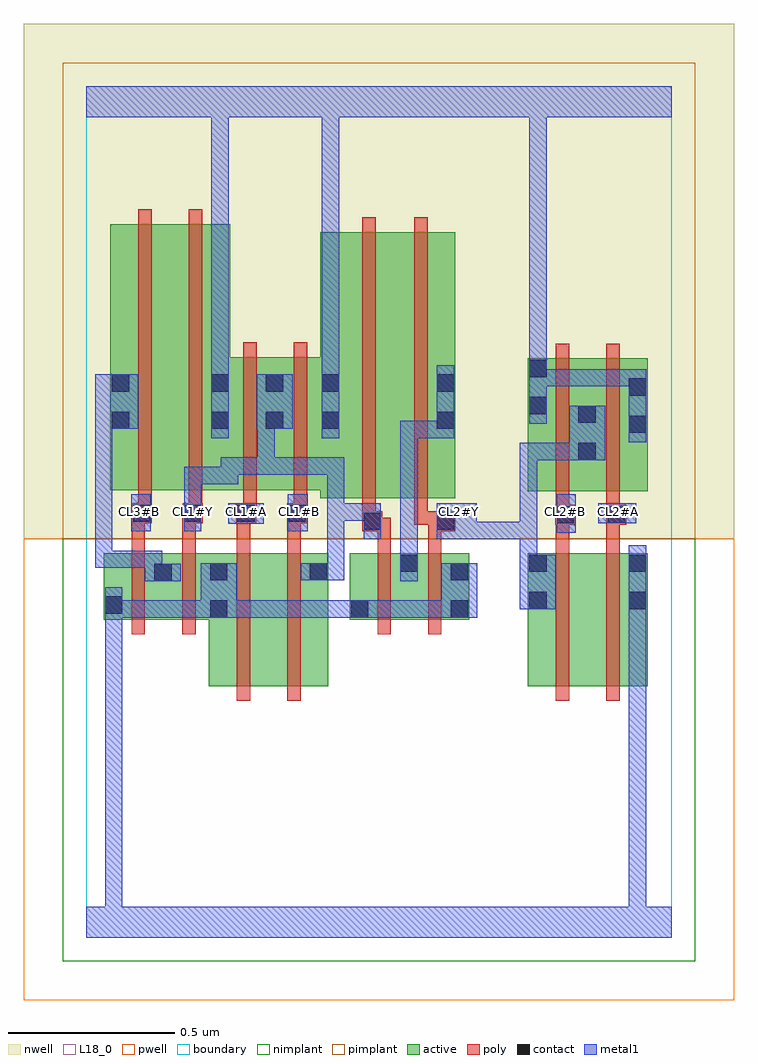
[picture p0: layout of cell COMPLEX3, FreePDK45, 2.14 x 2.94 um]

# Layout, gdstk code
import gdstk
lib = gdstk.Library(unit=1e-6, precision=1e-09)
def R(c, l, rs):  # rectangles x0, y0, x1, y1
    for r in rs: c.add(gdstk.rectangle(r[:2], r[2:], *l))
def A(c, l, x, y, w, h, nx, ny, dx, dy):  # array of equal rectangles
    R(c, l, [(x+i*dx, y+j*dy, x+i*dx+w, y+j*dy+h) for i in range(nx) for j in range(ny)])
active = (1, 0)
pwell = (2, 0)
nwell = (3, 0)
nimplant = (4, 0)
pimplant = (5, 0)
poly = (9, 0)
contact = (10, 0)
metal1 = (11, 0)
L18_0 = (18, 0)
boundary = (235, 0)

complex3 = lib.new_cell('COMPLEX3')
R(complex3, active, [(0.368,0.756,0.428,1.156), (0.368,0.756,0.548,1.156), (0.548,0.756,0.728,1.156), (0.668,0.756,0.728,1.156), (1.328,0.756,1.388,1.156), (1.328,0.756,1.508,1.156), (1.508,0.756,1.688,1.156), (1.628,0.756,1.688,1.156), (0.052,0.956,0.112,1.156), (0.052,0.956,0.26,1.156), (0.2,0.956,0.26,1.156), (0.2,0.956,0.428,1.156), (0.792,0.956,0.852,1.156), (0.792,0.956,1,1.156), (0.94,0.956,1,1.156), (0.94,0.956,1.152,1.156), (1.092,0.956,1.152,1.156), (0.704,1.322,0.93,2.122), (0.93,1.322,1.11,2.122), (1.05,1.322,1.11,2.122), (1.328,1.342,1.388,1.742), (1.328,1.342,1.536,1.742), (1.476,1.342,1.688,1.742), (1.628,1.342,1.688,1.742), (0.072,1.346,0.252,2.146), (0.072,1.346,0.132,2.044), (0.252,1.346,0.432,2.146), (0.372,1.346,0.596,1.746), (0.536,1.346,0.764,1.746), (1.476,1.386,1.536,1.698), (0.536,1.388,0.596,1.746), (0.372,1.47,0.432,2.146), (0.704,1.498,0.764,1.85)])
R(complex3, pwell, [(-0.188,-0.188,1.948,1.2)])
R(complex3, nwell, [(-0.188,1.2,1.948,2.748)])
R(complex3, nimplant, [(-0.072,-0.072,1.832,1.2)])
R(complex3, pimplant, [(-0.072,1.2,1.832,2.632)])
R(complex3, poly, [(0.452,0.712,0.492,1.2), (0.604,0.712,0.644,1.2), (1.412,0.712,1.452,1.2), (1.564,0.712,1.604,1.2), (0.136,0.912,0.176,1.2), (0.288,0.912,0.328,1.2), (0.876,0.912,0.916,1.2), (1.028,0.912,1.068,1.2), (0.136,1.16,0.176,1.286), (0.288,1.16,0.328,1.286), (0.452,1.16,0.492,1.286), (0.604,1.16,0.644,1.286), (0.876,1.16,0.916,1.262), (1.028,1.16,1.068,1.262), (1.412,1.16,1.452,1.282), (1.564,1.16,1.604,1.282), (0.83,1.222,0.89,1.282), (0.85,1.222,0.89,1.262), (0.85,1.222,0.916,1.262), (1.028,1.222,1.11,1.282), (0.83,1.242,0.87,1.318), (0.986,1.242,1.026,1.318), (0.986,1.242,1.068,1.282), (1.028,1.242,1.068,1.282), (1.41,1.242,1.47,1.302), (1.564,1.242,1.624,1.302), (0.136,1.246,0.176,1.286), (0.136,1.246,0.176,1.286), (0.136,1.246,0.196,1.306), (0.288,1.246,0.33,1.286), (0.29,1.246,0.33,1.286), (0.29,1.246,0.35,1.306), (0.45,1.246,0.51,1.306), (0.604,1.246,0.664,1.306), (1.412,1.262,1.452,1.338), (1.412,1.262,1.452,1.302), (1.412,1.262,1.452,1.302), (1.564,1.262,1.604,1.338), (1.564,1.262,1.604,1.302), (1.564,1.262,1.604,1.302), (0.156,1.266,0.196,1.342), (0.308,1.266,0.348,1.342), (0.47,1.266,0.51,1.306), (0.47,1.266,0.512,1.306), (0.472,1.266,0.512,1.342), (0.624,1.266,0.664,1.342), (0.624,1.266,0.664,1.306), (0.624,1.266,0.664,1.306), (0.83,1.278,0.87,2.166), (0.986,1.278,1.026,2.166), (1.412,1.298,1.452,1.786), (1.564,1.298,1.604,1.786), (0.156,1.302,0.196,2.19), (0.308,1.302,0.348,2.19), (0.472,1.302,0.512,1.79), (0.624,1.302,0.664,1.79)])
R(complex3, contact, [(0.372,0.962,0.424,1.014), (0.796,0.962,0.848,1.014), (1.096,0.962,1.148,1.014), (0.056,0.974,0.108,1.026), (1.332,0.988,1.384,1.04), (1.632,0.988,1.684,1.04), (0.204,1.072,0.256,1.124), (0.372,1.074,0.424,1.126), (0.672,1.074,0.724,1.126), (1.096,1.074,1.148,1.126), (0.944,1.1,0.996,1.152), (1.332,1.1,1.384,1.152), (1.632,1.1,1.684,1.152), (0.834,1.226,0.886,1.278), (1.054,1.226,1.106,1.278), (1.414,1.246,1.466,1.298), (1.568,1.246,1.62,1.298), (0.14,1.25,0.192,1.302), (0.294,1.25,0.346,1.302), (0.454,1.25,0.506,1.302), (0.608,1.25,0.66,1.302), (1.48,1.436,1.532,1.488), (1.632,1.518,1.684,1.57), (0.076,1.53,0.128,1.582), (0.376,1.53,0.428,1.582), (0.54,1.53,0.592,1.582), (0.708,1.53,0.76,1.582), (1.054,1.53,1.106,1.582), (1.48,1.548,1.532,1.6), (1.332,1.574,1.384,1.626), (1.632,1.63,1.684,1.682), (0.076,1.642,0.128,1.694), (0.376,1.642,0.428,1.694), (0.54,1.642,0.592,1.694), (0.708,1.642,0.76,1.694), (1.054,1.642,1.106,1.694), (1.332,1.686,1.384,1.738)])
R(complex3, metal1, [(0,0,1.76,0.092), (0.056,0.04,0.108,0.092), (0.056,0.04,0.108,0.092), (0.056,0.04,0.108,0.092), (0.056,0.04,0.108,0.092), (0.056,0.04,0.108,0.092), (0.056,0.04,0.108,0.092), (0.056,0.04,0.108,0.092), (0.056,0.04,0.108,0.092), (0.056,0.04,0.108,0.092), (0.056,0.04,0.108,0.092), (0.056,0.04,0.108,0.092), (0.056,0.04,0.108,0.092), (0.056,0.04,0.108,0.092), (0.056,0.04,0.108,0.092), (0.056,0.04,0.108,0.092), (0.056,0.04,0.108,0.092), (0.056,0.04,0.108,0.998), (1.632,0.04,1.684,0.092), (1.632,0.04,1.684,0.092), (1.632,0.04,1.684,1.012), (0.056,0.946,0.108,1.054), (1.632,0.96,1.684,1.012), (1.632,0.96,1.684,1.012), (1.632,0.96,1.684,1.012), (1.632,0.96,1.684,1.012), (1.632,0.96,1.684,1.012), (1.632,0.96,1.684,1.012), (1.632,0.96,1.684,1.012), (1.632,0.96,1.684,1.012), (1.632,0.96,1.684,1.012), (1.632,0.96,1.684,1.012), (1.632,0.96,1.684,1.18), (0.056,0.962,0.108,1.014), (0.056,0.962,0.108,1.014), (0.056,0.962,0.236,1.014), (0.184,0.962,0.236,1.014), (0.184,0.962,0.236,1.014), (0.184,0.962,0.236,1.014), (0.184,0.962,0.396,1.014), (0.344,0.962,0.452,1.126), (0.4,0.962,0.456,1.014), (0.404,0.962,0.456,1.014), (0.404,0.962,0.566,1.014), (0.514,0.962,0.566,1.014), (0.514,0.962,0.566,1.014), (0.514,0.962,0.566,1.014), (0.514,0.962,0.676,1.014), (0.624,0.962,0.676,1.014), (0.624,0.962,0.82,1.014), (0.768,0.962,0.882,1.014), (0.83,0.962,0.886,1.014), (0.834,0.962,0.886,1.014), (0.834,0.962,0.996,1.014), (0.944,0.962,0.996,1.014), (0.944,0.962,0.996,1.014), (0.944,0.962,0.996,1.014), (0.944,0.962,1.12,1.014), (1.068,0.962,1.176,1.126), (1.304,0.988,1.412,1.152), (0.176,1.072,0.228,1.164), (0.176,1.072,0.284,1.124), (0.944,1.072,0.996,1.18), (0.644,1.074,0.776,1.126), (0.724,1.074,0.776,1.126), (0.724,1.074,0.776,1.126), (0.724,1.074,0.776,1.306), (1.304,1.1,1.356,1.25), (0.026,1.112,0.078,1.164), (0.026,1.112,0.078,1.164), (0.026,1.112,0.078,1.164), (0.026,1.112,0.228,1.164), (0.026,1.112,0.078,1.582), (0.176,1.112,0.228,1.164), (0.944,1.128,0.996,1.554), (0.834,1.198,0.886,1.306), (1.054,1.198,1.174,1.306), (1.122,1.198,1.174,1.25), (1.122,1.198,1.174,1.25), (1.122,1.198,1.356,1.25), (1.304,1.198,1.356,1.25), (1.304,1.198,1.356,1.25), (1.304,1.198,1.356,1.25), (1.304,1.198,1.356,1.488), (1.414,1.218,1.472,1.334), (0.134,1.222,0.194,1.334), (0.294,1.222,0.346,1.334), (0.606,1.222,0.666,1.334), (0.426,1.244,0.534,1.306), (1.54,1.246,1.654,1.306), (0.724,1.254,0.886,1.306), (0.724,1.254,0.776,1.444), (0.834,1.254,0.886,1.306), (0.834,1.254,0.886,1.306), (0.294,1.282,0.346,1.334), (0.294,1.282,0.346,1.416), (0.294,1.364,0.456,1.416), (0.404,1.364,0.456,1.444), (0.404,1.392,0.566,1.444), (0.514,1.392,0.566,1.444), (0.514,1.392,0.566,1.444), (0.514,1.392,0.566,1.444), (0.514,1.392,0.776,1.444), (0.514,1.392,0.566,1.582), (1.304,1.436,1.356,1.488), (1.304,1.436,1.356,1.488), (1.304,1.436,1.356,1.488), (1.304,1.436,1.504,1.488), (1.452,1.436,1.56,1.6), (1.632,1.49,1.684,1.71), (0.376,1.502,0.428,1.722), (0.708,1.502,0.76,1.722), (0.944,1.502,0.996,1.554), (0.944,1.502,0.996,1.554), (0.944,1.502,0.996,1.554), (0.944,1.502,1.106,1.554), (1.054,1.502,1.106,1.554), (1.054,1.502,1.106,1.554), (1.054,1.502,1.106,1.554), (1.054,1.502,1.106,1.554), (1.054,1.502,1.106,1.722), (0.026,1.53,0.078,1.582), (0.026,1.53,0.078,1.582), (0.026,1.53,0.156,1.694), (0.512,1.53,0.62,1.694), (1.332,1.546,1.384,1.766), (1.332,1.658,1.384,1.71), (1.332,1.658,1.384,1.71), (1.332,1.658,1.494,1.71), (1.442,1.658,1.494,1.71), (1.442,1.658,1.684,1.71), (1.632,1.658,1.684,1.71), (1.632,1.658,1.684,1.71), (0.376,1.67,0.428,2.52), (0.708,1.67,0.76,2.52), (1.332,1.714,1.384,1.766), (1.332,1.714,1.384,1.766), (1.332,1.714,1.384,1.766), (1.332,1.714,1.384,1.766), (1.332,1.714,1.384,1.766), (1.332,1.714,1.384,1.766), (1.332,1.714,1.384,2.52), (0,2.468,1.76,2.56), (0.376,2.468,0.428,2.52), (0.376,2.468,0.428,2.52), (0.376,2.468,0.428,2.52), (0.376,2.468,0.428,2.52), (0.376,2.468,0.428,2.52), (0.376,2.468,0.428,2.52), (0.376,2.468,0.428,2.52), (0.376,2.468,0.428,2.52), (0.708,2.468,0.76,2.52), (0.708,2.468,0.76,2.52), (0.708,2.468,0.76,2.52), (0.708,2.468,0.76,2.52), (0.708,2.468,0.76,2.52), (0.708,2.468,0.76,2.52), (0.708,2.468,0.76,2.52), (0.708,2.468,0.76,2.52), (1.332,2.468,1.384,2.52), (1.332,2.468,1.384,2.52), (1.332,2.468,1.384,2.52), (1.332,2.468,1.384,2.52), (1.332,2.468,1.384,2.52), (1.332,2.468,1.384,2.52), (1.332,2.468,1.384,2.52), (1.332,2.468,1.384,2.52), (1.332,2.468,1.384,2.52), (1.332,2.468,1.384,2.52)])
A(complex3, L18_0, 0.134, 1.254, 0.052, 0.052, 4, 1, 0.16, 0)
R(complex3, L18_0, [(0,0,1.76,0.092), (0.056,0.04,0.108,0.092), (0.056,0.04,0.108,0.092), (0.056,0.04,0.108,0.092), (0.056,0.04,0.108,0.092), (0.056,0.04,0.108,0.092), (0.056,0.04,0.108,0.092), (0.056,0.04,0.108,0.092), (0.056,0.04,0.108,0.092), (0.056,0.04,0.108,0.092), (0.056,0.04,0.108,0.092), (0.056,0.04,0.108,0.092), (0.056,0.04,0.108,0.092), (0.056,0.04,0.108,0.092), (0.056,0.04,0.108,0.092), (0.056,0.04,0.108,0.092), (0.056,0.04,0.108,0.092), (0.056,0.04,0.108,0.998), (1.632,0.04,1.684,0.092), (1.632,0.04,1.684,0.092), (1.632,0.04,1.684,1.012), (0.056,0.946,0.108,1.054), (1.632,0.96,1.684,1.012), (1.632,0.96,1.684,1.012), (1.632,0.96,1.684,1.012), (1.632,0.96,1.684,1.012), (1.632,0.96,1.684,1.012), (1.632,0.96,1.684,1.012), (1.632,0.96,1.684,1.012), (1.632,0.96,1.684,1.012), (1.632,0.96,1.684,1.012), (1.632,0.96,1.684,1.012), (1.632,0.96,1.684,1.18), (0.056,0.962,0.108,1.014), (0.056,0.962,0.108,1.014), (0.056,0.962,0.236,1.014), (0.184,0.962,0.236,1.014), (0.184,0.962,0.236,1.014), (0.184,0.962,0.236,1.014), (0.184,0.962,0.396,1.014), (0.344,0.962,0.452,1.126), (0.4,0.962,0.456,1.014), (0.404,0.962,0.456,1.014), (0.404,0.962,0.566,1.014), (0.514,0.962,0.566,1.014), (0.514,0.962,0.566,1.014), (0.514,0.962,0.566,1.014), (0.514,0.962,0.676,1.014), (0.624,0.962,0.676,1.014), (0.624,0.962,0.82,1.014), (0.768,0.962,0.882,1.014), (0.83,0.962,0.886,1.014), (0.834,0.962,0.886,1.014), (0.834,0.962,0.996,1.014), (0.944,0.962,0.996,1.014), (0.944,0.962,0.996,1.014), (0.944,0.962,0.996,1.014), (0.944,0.962,1.12,1.014), (1.068,0.962,1.176,1.126), (1.304,0.988,1.412,1.152), (0.644,1.074,0.776,1.126), (0.724,1.074,0.776,1.126), (0.724,1.074,0.776,1.126), (0.724,1.074,0.776,1.306), (1.304,1.1,1.356,1.25), (0.834,1.198,0.886,1.306), (1.054,1.198,1.174,1.306), (1.122,1.198,1.174,1.25), (1.122,1.198,1.174,1.25), (1.122,1.198,1.356,1.25), (1.304,1.198,1.356,1.25), (1.304,1.198,1.356,1.25), (1.304,1.198,1.356,1.25), (1.304,1.198,1.356,1.488), (1.414,1.218,1.472,1.334), (0.134,1.222,0.194,1.334), (0.294,1.222,0.346,1.334), (0.606,1.222,0.666,1.334), (0.426,1.244,0.534,1.306), (1.54,1.246,1.654,1.306), (0.724,1.254,0.886,1.306), (0.724,1.254,0.776,1.444), (0.834,1.254,0.886,1.306), (0.834,1.254,0.886,1.306), (1.094,1.254,1.146,1.306), (1.414,1.254,1.466,1.306), (1.574,1.254,1.626,1.306), (0.294,1.282,0.346,1.334), (0.294,1.282,0.346,1.416), (0.294,1.364,0.456,1.416), (0.404,1.364,0.456,1.444), (0.404,1.392,0.566,1.444), (0.514,1.392,0.566,1.444), (0.514,1.392,0.566,1.444), (0.514,1.392,0.566,1.444), (0.514,1.392,0.566,1.582), (0.514,1.392,0.776,1.444), (1.304,1.436,1.356,1.488), (1.304,1.436,1.356,1.488), (1.304,1.436,1.356,1.488), (1.304,1.436,1.504,1.488), (1.452,1.436,1.56,1.6), (1.632,1.49,1.684,1.71), (0.376,1.502,0.428,1.722), (0.708,1.502,0.76,1.722), (0.512,1.53,0.62,1.694), (1.332,1.546,1.384,1.766), (1.332,1.658,1.384,1.71), (1.332,1.658,1.384,1.71), (1.332,1.658,1.494,1.71), (1.442,1.658,1.494,1.71), (1.442,1.658,1.684,1.71), (1.632,1.658,1.684,1.71), (1.632,1.658,1.684,1.71), (0.376,1.67,0.428,2.52), (0.708,1.67,0.76,2.52), (1.332,1.714,1.384,1.766), (1.332,1.714,1.384,1.766), (1.332,1.714,1.384,1.766), (1.332,1.714,1.384,1.766), (1.332,1.714,1.384,1.766), (1.332,1.714,1.384,1.766), (1.332,1.714,1.384,2.52), (0,2.468,1.76,2.56), (0.376,2.468,0.428,2.52), (0.376,2.468,0.428,2.52), (0.376,2.468,0.428,2.52), (0.376,2.468,0.428,2.52), (0.376,2.468,0.428,2.52), (0.376,2.468,0.428,2.52), (0.376,2.468,0.428,2.52), (0.376,2.468,0.428,2.52), (0.708,2.468,0.76,2.52), (0.708,2.468,0.76,2.52), (0.708,2.468,0.76,2.52), (0.708,2.468,0.76,2.52), (0.708,2.468,0.76,2.52), (0.708,2.468,0.76,2.52), (0.708,2.468,0.76,2.52), (0.708,2.468,0.76,2.52), (1.332,2.468,1.384,2.52), (1.332,2.468,1.384,2.52), (1.332,2.468,1.384,2.52), (1.332,2.468,1.384,2.52), (1.332,2.468,1.384,2.52), (1.332,2.468,1.384,2.52), (1.332,2.468,1.384,2.52), (1.332,2.468,1.384,2.52), (1.332,2.468,1.384,2.52), (1.332,2.468,1.384,2.52)])
R(complex3, boundary, [(0,0,1.76,2.56)])
complex3.add(gdstk.Label('CL1#A', (0.48,1.28), layer=11, texttype=0))
complex3.add(gdstk.Label('CL1#B', (0.64,1.28), layer=11, texttype=0))
complex3.add(gdstk.Label('CL1#Y', (0.32,1.28), layer=11, texttype=0))
complex3.add(gdstk.Label('CL2#A', (1.6,1.28), layer=11, texttype=0))
complex3.add(gdstk.Label('CL2#B', (1.44,1.28), layer=11, texttype=0))
complex3.add(gdstk.Label('CL2#Y', (1.12,1.28), layer=11, texttype=0))
complex3.add(gdstk.Label('CL3#B', (0.16,1.28), layer=11, texttype=0))

lib.write_gds('COMPLEX3.gds')
